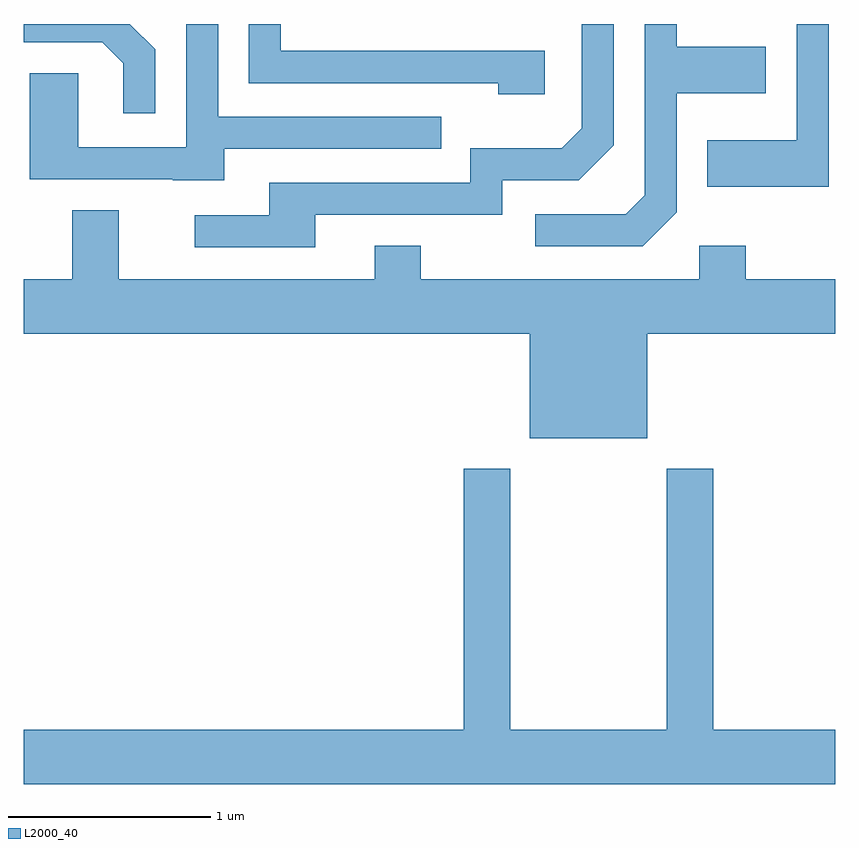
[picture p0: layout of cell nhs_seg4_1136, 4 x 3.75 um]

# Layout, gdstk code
import gdstk
lib = gdstk.Library(unit=1e-6, precision=1e-09)
def P(c, l, *ps):  # polygons
    for p in ps: c.add(gdstk.Polygon(p, *l))
L2000_40 = (2000, 40)

nhs_seg4_1136 = lib.new_cell('nhs_seg4_1136')
P(nhs_seg4_1136, L2000_40, [(218.599,1353.366),(219.668,1353.366),(219.668,1353.524),(218.569,1353.524),(218.569,1353.982),(218.411,1353.982),(218.411,1353.374),(217.879,1353.374),(217.879,1353.739),(217.641,1353.739),(217.641,1353.216),(218.345,1353.216),(218.345,1353.211),(218.599,1353.211)],
  [(220.829,1353.054),(220.829,1353.641),(221.269,1353.641),(221.269,1353.869),(220.829,1353.869),(220.829,1353.982),(220.671,1353.982),(220.671,1353.137),(220.579,1353.044),(220.133,1353.044),(220.133,1352.886),(220.662,1352.886)],
  [(221.579,1353.982),(221.421,1353.982),(221.421,1353.409),(220.981,1353.409),(220.981,1353.181),(221.579,1353.181)],
  [(218.259,1353.857),(218.134,1353.982),(217.611,1353.982),(217.611,1353.891),(217.999,1353.891),(218.101,1353.789),(218.101,1353.543),(218.259,1353.543)],
  [(219.049,1353.041),(219.969,1353.041),(219.969,1353.211),(220.347,1353.211),(220.519,1353.384),(220.519,1353.982),(220.361,1353.982),(220.361,1353.467),(220.264,1353.369),(219.811,1353.369),(219.811,1353.199),(218.821,1353.199),(218.821,1353.039),(218.453,1353.039),(218.453,1352.881),(219.049,1352.881)],
  [(220.179,1353.849),(218.879,1353.849),(218.879,1353.982),(218.721,1353.982),(218.721,1353.691),(219.951,1353.691),(219.951,1353.636),(220.179,1353.636)],
  [(220.684,1352.456),(221.611,1352.456),(221.611,1352.724),(221.169,1352.724),(221.169,1352.889),(220.941,1352.889),(220.941,1352.724),(219.569,1352.724),(219.569,1352.889),(219.341,1352.889),(219.341,1352.724),(218.079,1352.724),(218.079,1353.064),(217.851,1353.064),(217.851,1352.724),(217.611,1352.724),(217.611,1352.456),(220.106,1352.456),(220.106,1351.941),(220.684,1351.941)],
  [(221.611,1350.504),(221.009,1350.504),(221.009,1351.789),(220.781,1351.789),(220.781,1350.504),(220.009,1350.504),(220.009,1351.789),(219.781,1351.789),(219.781,1350.504),(217.611,1350.504),(217.611,1350.236),(221.611,1350.236)])

lib.write_gds('nhs_seg4_1136.gds')
